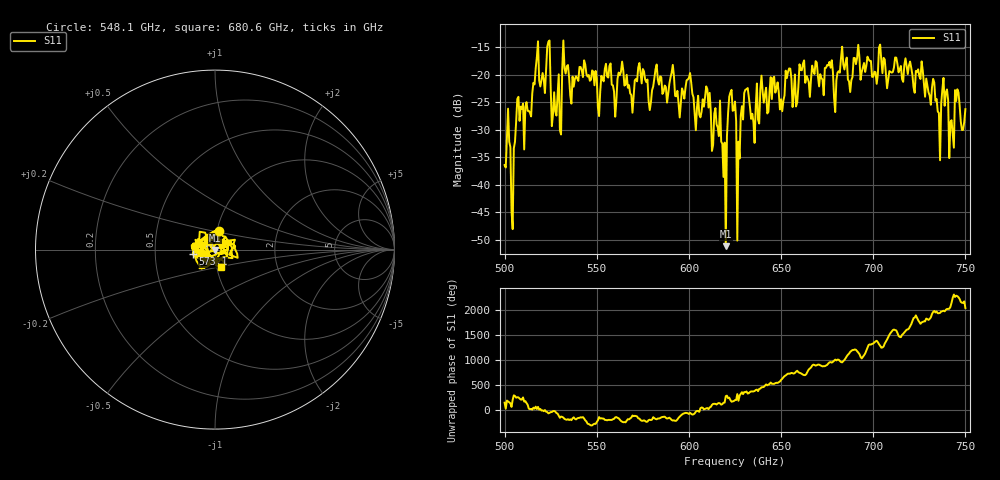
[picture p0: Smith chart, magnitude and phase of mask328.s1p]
!Created with skrf (http://scikit-rf.org).
# GHz S MA R 50.0
!freq magS11 angS11
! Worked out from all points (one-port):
!   401 points, 500 GHz to 750 GHz, reference 50 ohm
!   lowest |S11| = -51.1 dB at 620 GHz (marker M1), VSWR 1.01, Z = 50 - j0.274 ohm
!   |S11| at or under -10 dB: start of sweep to end of sweep
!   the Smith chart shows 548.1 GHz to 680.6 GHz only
!   S11 on the Smith chart (normalised r, x): 548.1 GHz: 1.02, +0.21; 573.1 GHz: 0.78, -0.04; 680.6 GHz: 1.05, -0.21
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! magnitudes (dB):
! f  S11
! 500 GHz  -36.4
! 504.4 GHz  -48.0
! 507.5 GHz  -24.0
! 513.8 GHz  -26.9
! 516.9 GHz  -18.9
! 523.8 GHz  -14.1
! 526.9 GHz  -23.2
! 531.2 GHz  -19.2
! 548.1 GHz  -19.5
! 562.5 GHz  -20.1
! 573.1 GHz  -17.9
! 593.8 GHz  -23.0
! 610 GHz  -22.7
! 620 GHz  -51.1
! 622.5 GHz  -23.2
! 625 GHz  -24.9
! 627.5 GHz  -35.2
! 631.2 GHz  -22.7
! 635 GHz  -28.6
! 656.2 GHz  -25.9
! 680.6 GHz  -19.6
! 687.5 GHz  -23.2
! 718.8 GHz  -19.9
! 735 GHz  -26.7
! 738.8 GHz  -25.7
! 742.5 GHz  -28.3
! 745.6 GHz  -22.7
! 750 GHz  -26.3
